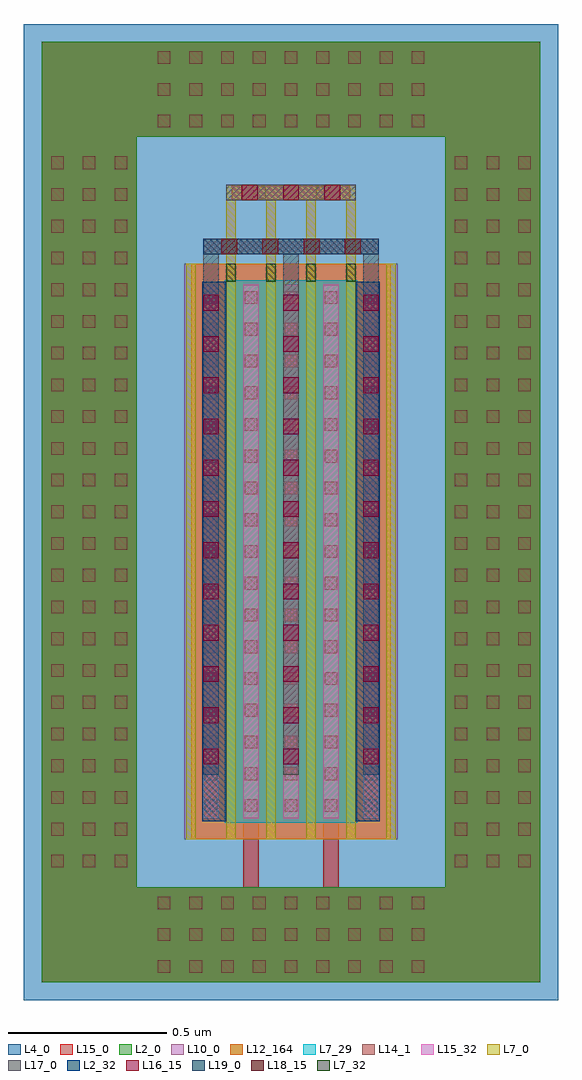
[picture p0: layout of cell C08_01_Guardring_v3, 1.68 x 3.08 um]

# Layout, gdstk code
import gdstk
lib = gdstk.Library(unit=1e-6, precision=1e-09)
def R(c, l, rs):  # rectangles x0, y0, x1, y1
    for r in rs: c.add(gdstk.rectangle(r[:2], r[2:], *l))
def A(c, l, x, y, w, h, nx, ny, dx, dy):  # array of equal rectangles
    R(c, l, [(x+i*dx, y+j*dy, x+i*dx+w, y+j*dy+h) for i in range(nx) for j in range(ny)])
L2_0 = (2, 0)
L2_32 = (2, 32)
L4_0 = (4, 0)
L7_0 = (7, 0)
L7_29 = (7, 29)
L7_32 = (7, 32)
L10_0 = (10, 0)
L12_164 = (12, 164)
L14_1 = (14, 1)
L15_0 = (15, 0)
L15_32 = (15, 32)
L16_15 = (16, 15)
L17_0 = (17, 0)
L18_15 = (18, 15)
L19_0 = (19, 0)

c08_01_guardring_v3_srf_ = lib.new_cell('C08_01_Guardring_v3:SRF_Tr11:SRF_Pmos:SRF_Source_ViaM1M2:SRF_ViaM1M2')
R(c08_01_guardring_v3_srf_, L15_0, [(0,-1.462,0.05,0.082)])
A(c08_01_guardring_v3_srf_, L16_15, 0, -1.43, 0.05, 0.05, 1, 12, 0, 0.13)
R(c08_01_guardring_v3_srf_, L17_0, [(0,-1.462,0.05,0.082)])

c_c08_01_guardring_v3_srf_ = lib.new_cell('C08_01_Guardring_v3:SRF_Tr11:SRF_Pmos:SRF_Source_ViaM1M2')
c_c08_01_guardring_v3_srf_.add(gdstk.Reference(c08_01_guardring_v3_srf_, (-0.025,0.69)))

c_c08_01_guardring_v3_srf__ = lib.new_cell('C08_01_Guardring_v3:SRF_Tr11:SRF_Pmos:SRF_Gate_ViaM0Mx:SRF_ViaM0M1')
R(c_c08_01_guardring_v3_srf__, L7_0, [(-0.01,-0.004,0.25,0.044)])
A(c_c08_01_guardring_v3_srf__, L14_1, 0, 0, 0.04, 0.04, 3, 1, 0.1, 0)
R(c_c08_01_guardring_v3_srf__, L15_0, [(-0.021,-0.005,0.261,0.045)])

c_c08_01_guardring_v3_srf___ = lib.new_cell('C08_01_Guardring_v3:SRF_Tr11:SRF_Pmos:SRF_Gate_ViaM0Mx:SRF_ViaM1M2')
R(c_c08_01_guardring_v3_srf___, L15_0, [(-0.032,0,0.342,0.05)])
A(c_c08_01_guardring_v3_srf___, L16_15, 0, 0, 0.05, 0.05, 3, 1, 0.13, 0)
R(c_c08_01_guardring_v3_srf___, L17_0, [(-0.032,0,0.342,0.05)])

c_c08_01_guardring_v3_srf____ = lib.new_cell('C08_01_Guardring_v3:SRF_Tr11:SRF_Pmos:SRF_Gate_ViaM0Mx')
c_c08_01_guardring_v3_srf____.add(gdstk.Reference(c_c08_01_guardring_v3_srf__, (-0.12,-0.02)))
c_c08_01_guardring_v3_srf____.add(gdstk.Reference(c_c08_01_guardring_v3_srf___, (-0.155,-0.025)))

c_c08_01_guardring_v3_srf_____ = lib.new_cell('C08_01_Guardring_v3:SRF_Tr11:SRF_Pmos')
R(c_c08_01_guardring_v3_srf_____, L2_0, [(-0.076,0.057,0.484,1.757)])
R(c_c08_01_guardring_v3_srf_____, L2_32, [(-0.076,0.057,0,1.757), (0.408,0.057,0.484,1.757)])
A(c_c08_01_guardring_v3_srf_____, L7_0, -0.126, 0, 0.03, 1.814, 6, 1, 0.126, 0)
A(c_c08_01_guardring_v3_srf_____, L7_0, 0, 1.814, 0.03, 0.2, 4, 1, 0.126, 0)
R(c_c08_01_guardring_v3_srf_____, L7_0, [(0,2.014,0.408,2.062)])
R(c_c08_01_guardring_v3_srf_____, L7_29, [(-0.005,0.052,0.413,1.762)])
A(c_c08_01_guardring_v3_srf_____, L7_32, 0, 1.757, 0.03, 0.057, 4, 1, 0.126, 0)
R(c_c08_01_guardring_v3_srf_____, L10_0, [(-0.132,0.001,0.54,1.813)])
R(c_c08_01_guardring_v3_srf_____, L12_164, [(-0.111,0.001,0.519,1.813)])
A(c_c08_01_guardring_v3_srf_____, L14_1, -0.068, 0.087, 0.04, 0.04, 5, 17, 0.126, 0.1)
R(c_c08_01_guardring_v3_srf_____, L15_0, [(-0.073,0.066,-0.023,1.748), (-0.073,0.066,-0.023,1.748), (0.053,0.066,0.103,1.748), (0.053,0.066,0.103,1.748), (0.179,0.066,0.229,1.748), (0.179,0.066,0.229,1.748), (0.305,0.066,0.355,1.748), (0.305,0.066,0.355,1.748), (0.431,0.066,0.481,1.748), (0.431,0.066,0.481,1.748)])
A(c_c08_01_guardring_v3_srf_____, L15_32, -0.073, 0.066, 0.05, 1.682, 5, 1, 0.126, 0)
A(c_c08_01_guardring_v3_srf_____, L17_0, -0.073, 1.748, 0.05, 0.095, 3, 1, 0.252, 0)
R(c_c08_01_guardring_v3_srf_____, L17_0, [(-0.073,1.843,0.481,1.893), (0,2.013,0.408,2.063)])
c_c08_01_guardring_v3_srf_____.add(gdstk.Reference(c_c08_01_guardring_v3_srf_, (-0.048,0.976)))
c_c08_01_guardring_v3_srf_____.add(gdstk.Reference(c_c08_01_guardring_v3_srf_, (0.204,0.976)))
c_c08_01_guardring_v3_srf_____.add(gdstk.Reference(c_c08_01_guardring_v3_srf_, (0.456,0.976)))
c_c08_01_guardring_v3_srf_____.add(gdstk.Reference(c_c08_01_guardring_v3_srf____, (0.204,2.038)))

c_c08_01_guardring_v3_srf______ = lib.new_cell('C08_01_Guardring_v3:SRF_Tr11:SRF_Source_ViaM2M3:SRF_ViaM2M3')
R(c_c08_01_guardring_v3_srf______, L17_0, [(-0.032,0,0.472,0.05)])
A(c_c08_01_guardring_v3_srf______, L18_15, 0, 0, 0.05, 0.05, 4, 1, 0.13, 0)
R(c_c08_01_guardring_v3_srf______, L19_0, [(-0.032,0,0.472,0.05)])

c_c08_01_guardring_v3_srf_______ = lib.new_cell('C08_01_Guardring_v3:SRF_Tr11:SRF_Source_ViaM2M3')
c_c08_01_guardring_v3_srf_______.add(gdstk.Reference(c_c08_01_guardring_v3_srf______, (-0.22,-0.025)))

c_c08_01_guardring_v3_srf________ = lib.new_cell('C08_01_Guardring_v3:SRF_Tr11')
R(c_c08_01_guardring_v3_srf________, L19_0, [(-0.073,1.843,0.481,1.893)])
c_c08_01_guardring_v3_srf________.add(gdstk.Reference(c_c08_01_guardring_v3_srf_____, (0,0)))
c_c08_01_guardring_v3_srf________.add(gdstk.Reference(c_c08_01_guardring_v3_srf_______, (0.204,1.868)))

c08_01_guardring_v3__nbo = lib.new_cell('C08_01_Guardring_v3:_Nbodyring:SRF_NbodyTop:SRF_NbodyContactPhyLen')
R(c08_01_guardring_v3__nbo, L2_0, [(-0.066,-0.23,0.906,0.07)])
R(c08_01_guardring_v3__nbo, L4_0, [(-0.122,-0.286,0.962,0.126)])
A(c08_01_guardring_v3__nbo, L14_1, 0, -0.2, 0.04, 0.04, 9, 3, 0.1, 0.1)
R(c08_01_guardring_v3__nbo, L15_0, [(-0.066,-0.23,0.906,0.07)])

c_c08_01_guardring_v3__nbo = lib.new_cell('C08_01_Guardring_v3:_Nbodyring:SRF_NbodyTop')
c_c08_01_guardring_v3__nbo.add(gdstk.Reference(c08_01_guardring_v3__nbo, (0,0)))

c_c08_01_guardring_v3__nbo_ = lib.new_cell('C08_01_Guardring_v3:_Nbodyring:SRF_NbodyBottom:SRF_NbodyContactPhyLen')
R(c_c08_01_guardring_v3__nbo_, L2_0, [(-0.066,-0.23,0.906,0.07)])
R(c_c08_01_guardring_v3__nbo_, L4_0, [(-0.122,-0.286,0.962,0.126)])
A(c_c08_01_guardring_v3__nbo_, L14_1, 0, -0.2, 0.04, 0.04, 9, 3, 0.1, 0.1)
R(c_c08_01_guardring_v3__nbo_, L15_0, [(-0.066,-0.23,0.906,0.07)])

c_c08_01_guardring_v3__nbo__ = lib.new_cell('C08_01_Guardring_v3:_Nbodyring:SRF_NbodyBottom')
c_c08_01_guardring_v3__nbo__.add(gdstk.Reference(c_c08_01_guardring_v3__nbo_, (0,0)))

c_c08_01_guardring_v3__nbo___ = lib.new_cell('C08_01_Guardring_v3:_Nbodyring:SRF_NbodyLeft:SRF_NbodyContactPhyLen')
R(c_c08_01_guardring_v3__nbo___, L2_0, [(-0.03,-2.262,0.27,0.101)])
R(c_c08_01_guardring_v3__nbo___, L4_0, [(-0.086,-2.318,0.326,0.157)])
A(c_c08_01_guardring_v3__nbo___, L14_1, 0, -2.2, 0.04, 0.04, 3, 23, 0.1, 0.1)
R(c_c08_01_guardring_v3__nbo___, L15_0, [(-0.03,-2.262,0.27,0.101)])

c_c08_01_guardring_v3__nbo____ = lib.new_cell('C08_01_Guardring_v3:_Nbodyring:SRF_NbodyLeft')
c_c08_01_guardring_v3__nbo____.add(gdstk.Reference(c_c08_01_guardring_v3__nbo___, (0,0)))

c_c08_01_guardring_v3__nbo_____ = lib.new_cell('C08_01_Guardring_v3:_Nbodyring:SRF_NbodyRight:SRF_NbodyContactPhyLen')
R(c_c08_01_guardring_v3__nbo_____, L2_0, [(-0.03,-2.262,0.27,0.101)])
R(c_c08_01_guardring_v3__nbo_____, L4_0, [(-0.086,-2.318,0.326,0.157)])
A(c_c08_01_guardring_v3__nbo_____, L14_1, 0, -2.2, 0.04, 0.04, 3, 23, 0.1, 0.1)
R(c_c08_01_guardring_v3__nbo_____, L15_0, [(-0.03,-2.262,0.27,0.101)])

c_c08_01_guardring_v3__nbo______ = lib.new_cell('C08_01_Guardring_v3:_Nbodyring:SRF_NbodyRight')
c_c08_01_guardring_v3__nbo______.add(gdstk.Reference(c_c08_01_guardring_v3__nbo_____, (0,0)))

c_c08_01_guardring_v3__nbo_______ = lib.new_cell('C08_01_Guardring_v3:_Nbodyring')
R(c_c08_01_guardring_v3__nbo_______, L2_0, [(-0.366,-2.893,1.206,-2.593), (-0.366,-2.893,-0.066,0.07), (0.906,-2.893,1.206,0.07), (-0.366,-0.23,1.206,0.07)])
R(c_c08_01_guardring_v3__nbo_______, L4_0, [(-0.422,-2.949,1.262,-2.537), (-0.422,-2.949,-0.01,0.126), (0.85,-2.949,1.262,0.126), (-0.422,-0.286,1.262,0.126)])
R(c_c08_01_guardring_v3__nbo_______, L15_0, [(-0.366,-2.893,1.206,-2.593), (-0.366,-2.893,-0.066,0.07), (0.906,-2.893,1.206,0.07), (-0.366,-0.23,1.206,0.07)])
c_c08_01_guardring_v3__nbo_______.add(gdstk.Reference(c_c08_01_guardring_v3__nbo, (0,0)))
c_c08_01_guardring_v3__nbo_______.add(gdstk.Reference(c_c08_01_guardring_v3__nbo__, (0,-2.663)))
c_c08_01_guardring_v3__nbo_______.add(gdstk.Reference(c_c08_01_guardring_v3__nbo____, (-0.336,-0.331)))
c_c08_01_guardring_v3__nbo_______.add(gdstk.Reference(c_c08_01_guardring_v3__nbo______, (0.936,-0.331)))

c08_01_guardring_v3 = lib.new_cell('C08_01_Guardring_v3')
R(c08_01_guardring_v3, L4_0, [(-0.638,-0.506,1.046,2.569)])
R(c08_01_guardring_v3, L15_0, [(0.053,-0.15,0.103,0.066), (0.305,-0.15,0.355,0.066)])
c08_01_guardring_v3.add(gdstk.Reference(c_c08_01_guardring_v3_srf________, (0,0)))
c08_01_guardring_v3.add(gdstk.Reference(c_c08_01_guardring_v3__nbo_______, (-0.216,2.443)))

lib.write_gds('C08_01_Guardring_v3.gds')
